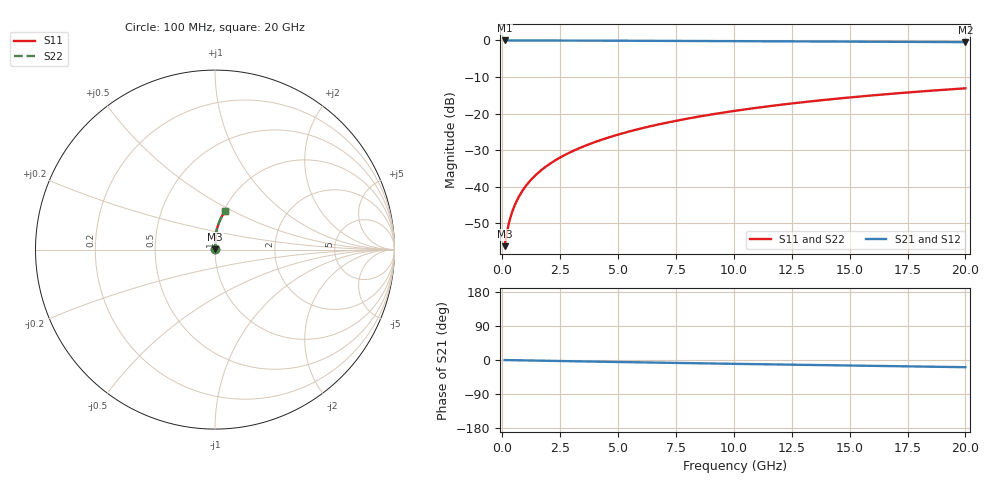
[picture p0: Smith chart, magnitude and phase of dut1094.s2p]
! Touchstone file exported from HFSS 2024.1.0
!  File:  C:/UserFiles/LocalFiles/RDL_TSV_Batchsim/temp_RDL_bottom_1094_1780053735.aedt
!  Generated:  07:24:15 PM May 29, 2026
!  Design:  RDL_bottom
!  Project:  temp_RDL_bottom_1094_1780053735
!  Setup:  Setup1
!  Solution:  Sweep
! Variables:
!  dtsv = 10.80580581um
!  hbump = 3um
!  htsv = 74.23um
!  ldown = 212.67um
!  lrdl = 100um
!  p = 40
!  p1 = 58.98um
!  rhole = 1um
!  t = 450um
!  tdown = 3.69um
!  trdl = 3.915915916um
!  wdown = 22.28um
!  wrdl = 20um
# GHz S MA R 50.000000
! Terminal data exported
! Port[1] = RDL1_T1
! Port[2] = RDL1_T2
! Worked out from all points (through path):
!   200 points, 100 MHz to 20 GHz, reference 50 ohm
!   highest |S21| = -0.01 dB at 100 MHz (marker M1); lowest = -0.5 dB at 20 GHz (marker M2)
!   group delay of S21, straight-line fit = 2.61 ps
!   lowest |S11| = -56.2 dB at 100 MHz (marker M3), VSWR 1.00, Z = 50.1 + j0.107 ohm
!   |S11| at or under -10 dB: start of sweep to end of sweep
!   |S22| runs from -56.2 to -13.1 dB; largest |S21 - S12| = 2.4e-15
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0.1  0.001546 43.4  0.9989 -0.1  0.9989 -0.1  0.001546 43.4
! Gamma 0 0 0 0
! Port Impedance 50 0 50 0
0.2  0.002403 60.9  0.9988 -0.2  0.9988 -0.2  0.002403 60.9
0.3  0.003337 68.7  0.9987 -0.3  0.9987 -0.3  0.003337 68.7
0.4  0.004286 73.1  0.9987 -0.4  0.9987 -0.4  0.004286 73.1
0.5  0.005243 76.0  0.9986 -0.6  0.9986 -0.6  0.005243 75.9
0.6  0.006206 78.0  0.9986 -0.7  0.9986 -0.7  0.006206 78.0
0.8  0.008147 80.8  0.9984 -0.9  0.9984 -0.9  0.008147 80.8
1.1  0.01109 83.3  0.9982 -1.2  0.9982 -1.2  0.01109 83.3
1.5  0.01506 85.1  0.9978 -1.6  0.9978 -1.6  0.01506 85.1
1.8  0.01807 86.0  0.9975 -2.0  0.9975 -2.0  0.01807 86.0
2.1  0.0211 86.7  0.9971 -2.3  0.9971 -2.3  0.0211 86.7
2.7  0.02723 87.5  0.9961 -2.9  0.9961 -2.9  0.02723 87.5
3.5  0.03557 88.1  0.9946 -3.8  0.9946 -3.8  0.03557 88.1
4.2  0.04301 88.3  0.9931 -4.5  0.9931 -4.5  0.04301 88.3
5  0.05169 88.3  0.9911 -5.3  0.9911 -5.3  0.05169 88.3
5.9  0.06165 88.0  0.9888 -6.2  0.9888 -6.2  0.06165 88.0
6.8  0.07179 87.6  0.9864 -7.1  0.9864 -7.1  0.07178 87.6
8.4  0.0901 86.5  0.9819 -8.6  0.9819 -8.6  0.0901 86.5
10.1  0.1098 85.1  0.9771 -10.2  0.9771 -10.2  0.1098 85.1
13.4  0.148 82.0  0.9678 -13.2  0.9678 -13.2  0.148 82.0
16.7  0.1855 78.7  0.9582 -16.1  0.9582 -16.1  0.1855 78.7
20  0.2218 75.4  0.9481 -19.0  0.9481 -19.0  0.2218 75.4
